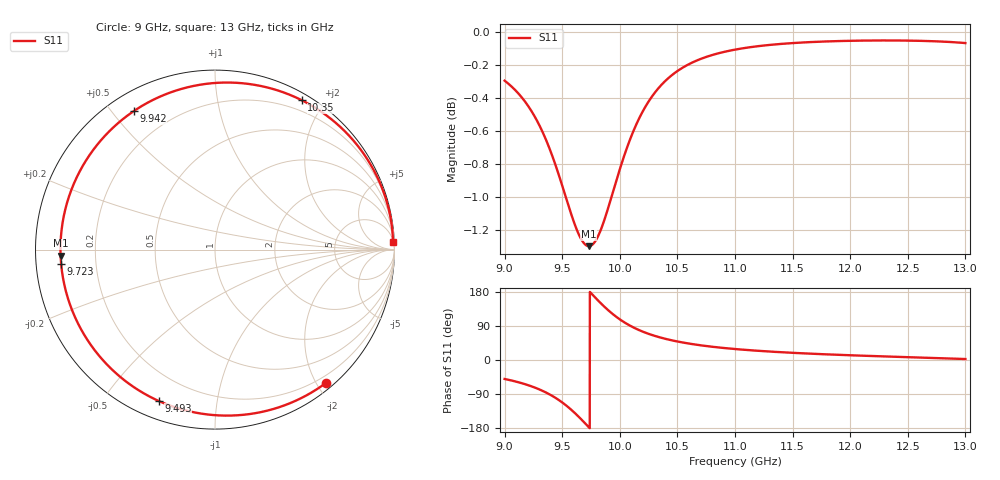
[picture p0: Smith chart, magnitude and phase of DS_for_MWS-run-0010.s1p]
! TOUCHSTONE file generated by CST DESIGN STUDIO
! Date and time: Wed Feb  5 13:39:19 2025
! Project name: C:\Work\MatlabApps\UnitCellOptimizationMatlab\CST\unitcell.cst
! Tree item: Tasks\Sweep1\SPara1\S-Parameters
! Header version: 2024
! Port assignment regex: !\s*Touchstone port\s*([0-9]+)\s*=\s*(CST MWS port|CST DES external port|CST DES block port)\s*(.+)\s* \(\"(.*)\"\)(\s*mode\s*([0-9]+))?.*
! Touchstone port assignment:
! Touchstone port 1 = CST DES external port 1 ("")
# GHz S MA R 50
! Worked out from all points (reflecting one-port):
!   4001 points, 9 GHz to 13 GHz, reference 50 ohm
!   lowest |S11| = -1.3 dB at 9.732 GHz (marker M1), VSWR 13.38, Z = 3.74 - j0.983 ohm
!   phase of S11 starts at -50 deg and turns -307 deg over the sweep
!   S11 on the Smith chart (normalised r, x): 9 GHz: 0.09, -2.14; 9.493 GHz: 0.08, -0.69; 9.723 GHz: 0.07, -0.04; 9.942 GHz: 0.07, +0.57; 10.35 GHz: 0.08, +1.73; 13 GHz: 7, +43
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9  0.9666 -50.0
9.136  0.9565 -60.0
9.262  0.9425 -72.7
9.393  0.9212 -91.2
9.445  0.9105 -100.5
9.493  0.8998 -110.4
9.5  0.8982 -112.0
9.554  0.8858 -124.9
9.606  0.8747 -138.9
9.668  0.8647 -157.4
9.723  0.8609 -174.8
9.732  0.8609 -177.7
9.776  0.8628 168.1
9.823  0.8687 153.4
9.883  0.8805 135.8
9.942  0.8945 120.4
10  0.9085 107.3
10.077  0.9253 92.6
10.169  0.9416 78.7
10.254  0.9531 68.6
10.346  0.9625 59.9
10.5  0.9731 48.8
10.718  0.9819 38.1
11  0.9878 28.9
11.5  0.9924 18.9
12  0.994 12.5
12.5  0.9941 7.4
13  0.9924 2.6
